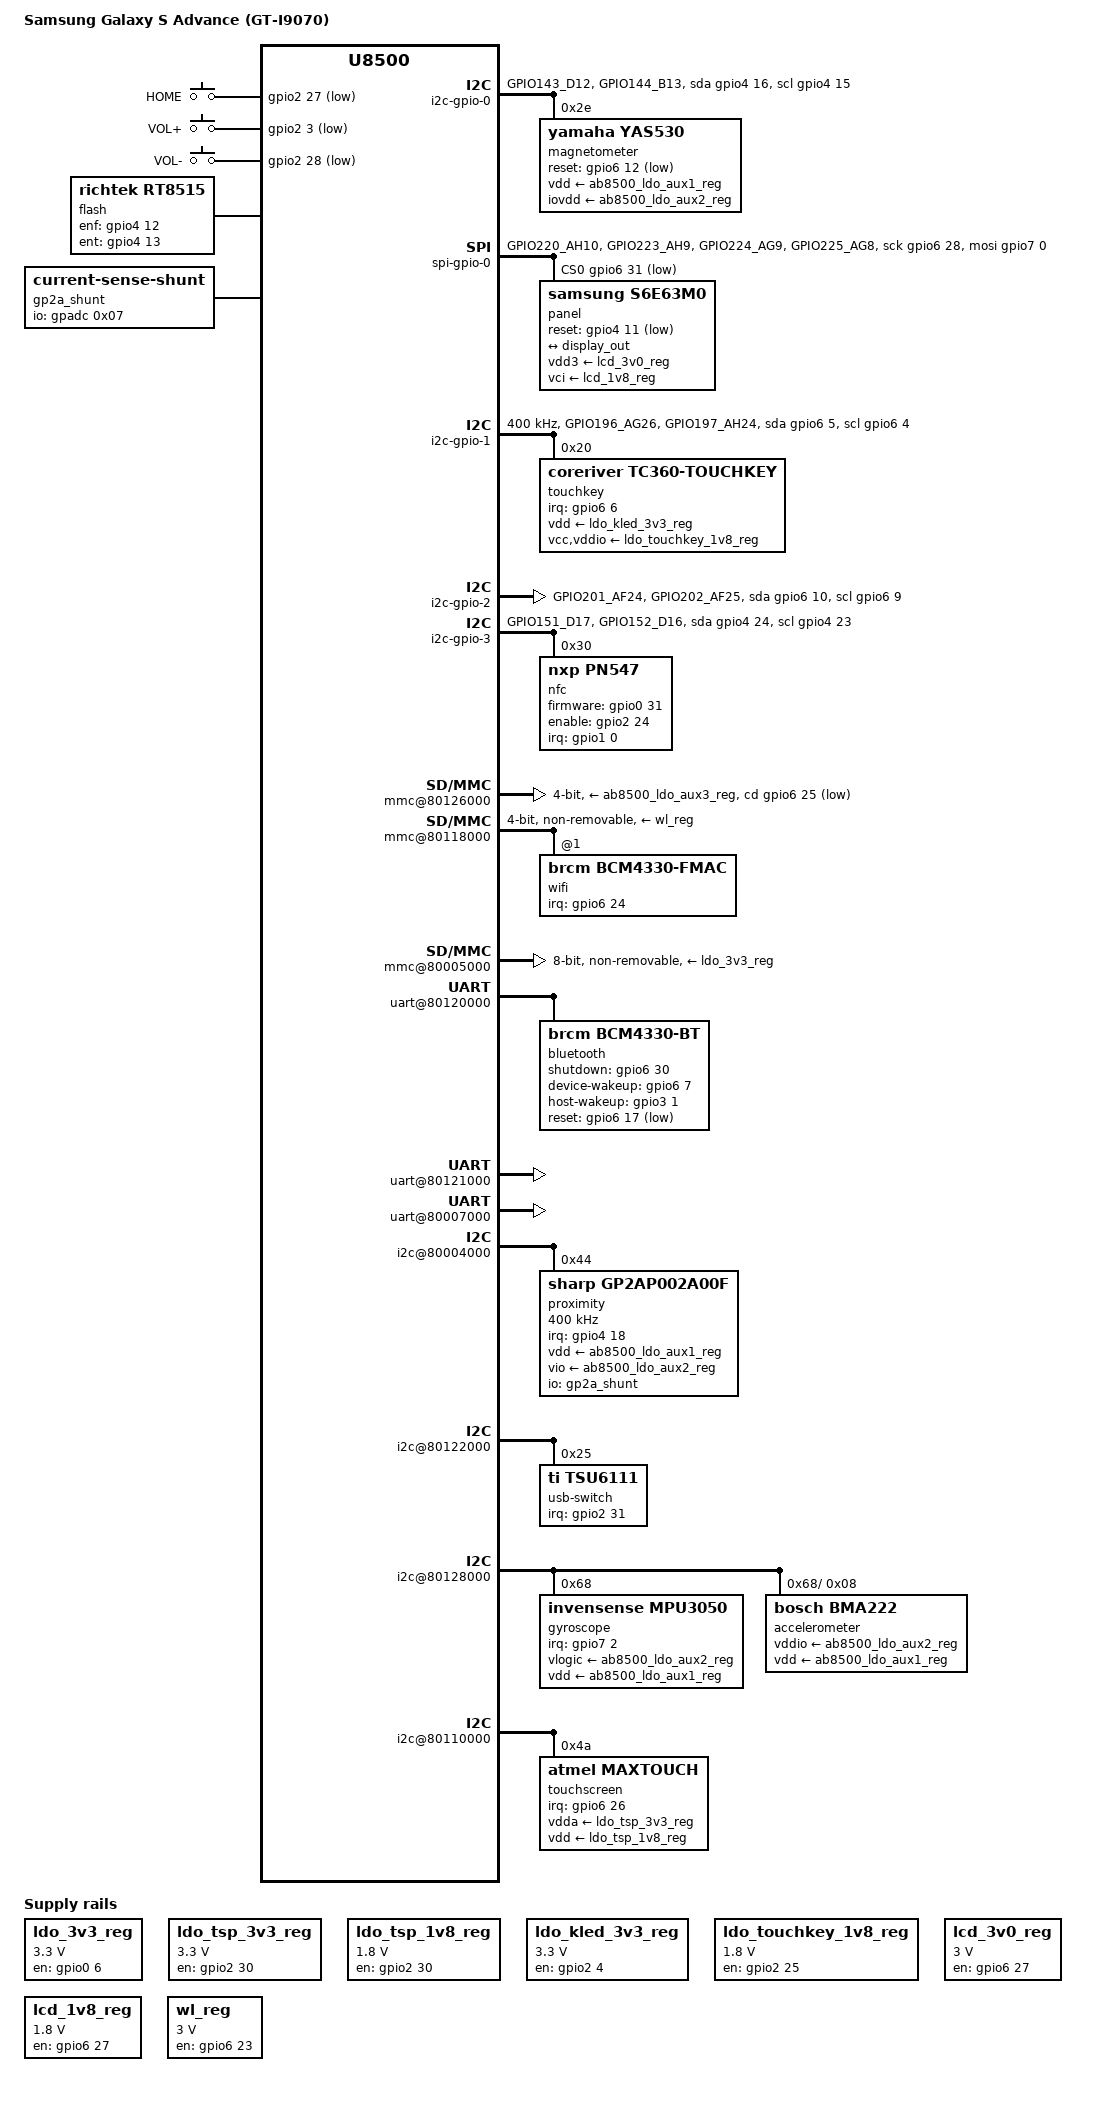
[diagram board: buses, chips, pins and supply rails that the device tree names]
// SPDX-License-Identifier: GPL-2.0-only
/*
 * Devicetree for the Samsung Galaxy S Advance GT-I9070 also known as Janice.
 */

/dts-v1/;
#include "ste-db8500.dtsi"
#include "ste-ab8500.dtsi"
#include "ste-dbx5x0-pinctrl.dtsi"
#include <dt-bindings/gpio/gpio.h>
#include <dt-bindings/leds/common.h>
#include <dt-bindings/input/input.h>
#include <dt-bindings/interrupt-controller/irq.h>

/ {
	model = "Samsung Galaxy S Advance (GT-I9070)";
	compatible = "samsung,janice", "st-ericsson,u8500";

	chosen {
		stdout-path = &serial2;
	};

	/* External LDO for eMMC LDO VMEM_3V3 controlled by GPIO6 */
	ldo_3v3_reg: regulator-gpio-ldo-3v3 {
		compatible = "regulator-fixed";
		/* Supplied in turn by VBAT */
		regulator-name = "VMEM_3V3";
		regulator-min-microvolt = <3300000>;
		regulator-max-microvolt = <3300000>;
		gpio = <&gpio0 6 GPIO_ACTIVE_HIGH>;
		startup-delay-us = <5000>; // FIXME
		enable-active-high;
		pinctrl-names = "default";
		pinctrl-0 = <&emmc_ldo_en_default_mode>;
	};

	/*
	 * External Ricoh "TSP" regulator for the touchscreen.
	 * One GPIO line controls two voltages of 3.3V and 1.8V
	 * this line is known as "TSP_LDO_ON1" in the schematics.
	 */
	ldo_tsp_3v3_reg: regulator-gpio-tsp-ldo-3v3 {
		compatible = "regulator-fixed";
		/* Supplied in turn by VBAT */
		regulator-name = "LDO_TSP_A3V3";
		regulator-min-microvolt = <3300000>;
		regulator-max-microvolt = <3300000>;
		/* GPIO94 controls this regulator */
		gpio = <&gpio2 30 GPIO_ACTIVE_HIGH>;
		/* 70 ms power-on delay */
		startup-delay-us = <70000>;
		enable-active-high;
		pinctrl-names = "default";
		pinctrl-0 = <&tsp_ldo_en_default_mode>;
	};
	ldo_tsp_1v8_reg: regulator-gpio-tsp-ldo-1v8 {
		compatible = "regulator-fixed";
		/* Supplied in turn by VBAT */
		regulator-name = "VREG_TSP_1V8";
		regulator-min-microvolt = <1800000>;
		regulator-max-microvolt = <1800000>;
		/* GPIO94 controls this regulator */
		gpio = <&gpio2 30 GPIO_ACTIVE_HIGH>;
		/* 70 ms power-on delay */
		startup-delay-us = <70000>;
		enable-active-high;
		pinctrl-names = "default";
		pinctrl-0 = <&tsp_ldo_en_default_mode>;
	};

	/*
	 * External Ricoh "TSP" regulator for the touchkeys.
	 * Two GPIO lines controls two voltages of 3.3V and 1.8V
	 * TSP_LDO_ON2 controls VREG_TOUCHKEY_1V8
	 * EN_LED_LDO controls VREG_KLED_3V3 (key LED)
	 */
	ldo_kled_3v3_reg: regulator-gpio-vreg-kled-3v3 {
		compatible = "regulator-fixed";
		/* Supplied in turn by VBAT */
		regulator-name = "VREG_KLED_3V3";
		regulator-min-microvolt = <3300000>;
		regulator-max-microvolt = <3300000>;
		/* GPIO68 controls this regulator */
		gpio = <&gpio2 4 GPIO_ACTIVE_HIGH>;
		/* 70 ms power-on delay */
		startup-delay-us = <70000>;
		enable-active-high;
		pinctrl-names = "default";
		pinctrl-0 = <&en_led_ldo_default_mode>;
	};
	ldo_touchkey_1v8_reg: regulator-gpio-vreg-touchkey-1v8 {
		compatible = "regulator-fixed";
		/* Supplied in turn by VBAT */
		regulator-name = "VREG_TOUCHKEY_1V8";
		regulator-min-microvolt = <1800000>;
		regulator-max-microvolt = <1800000>;
		/* GPIO89 controls this regulator */
		gpio = <&gpio2 25 GPIO_ACTIVE_HIGH>;
		/* 70 ms power-on delay */
		startup-delay-us = <70000>;
		enable-active-high;
		pinctrl-names = "default";
		pinctrl-0 = <&tsp_ldo_on2_default_mode>;
	};


	/*
	 * External Ricoh RP152L010B-TR LCD LDO regulator for the display.
	 * LCD_PWR_EN controls a 3.0V and 1.8V output.
	 */
	lcd_3v0_reg: regulator-gpio-lcd-3v0 {
		compatible = "regulator-fixed";
		/* Supplied in turn by VBAT */
		regulator-name = "VREG_LCD_3V0";
		regulator-min-microvolt = <3000000>;
		regulator-max-microvolt = <3000000>;
		/* GPIO219 controls this regulator */
		gpio = <&gpio6 27 GPIO_ACTIVE_HIGH>;
		enable-active-high;
		pinctrl-names = "default";
		pinctrl-0 = <&lcd_pwr_en_default_mode>;
	};
	lcd_1v8_reg: regulator-gpio-lcd-1v8 {
		compatible = "regulator-fixed";
		/* Supplied in turn by VBAT */
		regulator-name = "VREG_LCD_1V8";
		regulator-min-microvolt = <1800000>;
		regulator-max-microvolt = <1800000>;
		/* GPIO219 controls this regulator */
		gpio = <&gpio6 27 GPIO_ACTIVE_HIGH>;
		enable-active-high;
		pinctrl-names = "default";
		pinctrl-0 = <&lcd_pwr_en_default_mode>;
	};

	/*
	 * This regulator is a GPIO line that drives the Broadcom WLAN
	 * line WL_REG_ON high and enables the internal regulators
	 * inside the chip. Unfortunatley it is erroneously named
	 * WLAN_RST_N on the schematic but it is not a reset line.
	 *
	 * The voltage specified here is only used to determine the OCR mask,
	 * the for the SDIO connector, the chip is actually connected
	 * directly to VBAT.
	 */
	wl_reg: regulator-gpio-wlan {
		compatible = "regulator-fixed";
		regulator-name = "WL_REG_ON";
		regulator-min-microvolt = <3000000>;
		regulator-max-microvolt = <3000000>;
		startup-delay-us = <100000>;
		/* GPIO215 (WLAN_RST_N to WL_REG_ON) */
		gpio = <&gpio6 23 GPIO_ACTIVE_HIGH>;
		enable-active-high;
		pinctrl-names = "default";
		pinctrl-0 = <&wlan_ldo_en_default>;
	};


	gpio-keys {
		compatible = "gpio-keys";
		pinctrl-names = "default";
		pinctrl-0 = <&gpio_keys_default_mode>;

		button-home {
			linux,code = <KEY_HOME>;
			label = "HOME";
			/* GPIO91 */
			gpios = <&gpio2 27 GPIO_ACTIVE_LOW>;
		};
		button-volup {
			linux,code = <KEY_VOLUMEUP>;
			label = "VOL+";
			/* GPIO67 */
			gpios = <&gpio2 3 GPIO_ACTIVE_LOW>;
		};
		button-voldown {
			linux,code = <KEY_VOLUMEDOWN>;
			label = "VOL-";
			/* GPIO92 */
			gpios = <&gpio2 28 GPIO_ACTIVE_LOW>;
		};
	};

	/* Richtek RT8515GQW Flash LED Driver IC */
	flash {
		compatible = "richtek,rt8515";
		/* GPIO 140 */
		enf-gpios = <&gpio4 12 GPIO_ACTIVE_HIGH>;
		/* GPIO 141 */
		ent-gpios = <&gpio4 13 GPIO_ACTIVE_HIGH>;
		/*
		 * RFS is 16 kOhm and RTS is 100 kOhm giving
		 * the flash max current 343mA and torch max
		 * current 55 mA.
		 */
		richtek,rfs-ohms = <16000>;
		richtek,rts-ohms = <100000>;
		pinctrl-names = "default";
		pinctrl-0 = <&gpio_flash_default_mode>;

		led {
			function = LED_FUNCTION_FLASH;
			color = <LED_COLOR_ID_WHITE>;
			flash-max-timeout-us = <250000>;
			flash-max-microamp = <343750>;
			led-max-microamp = <55000>;
		};
	};

	/* Bit-banged I2C on GPIO143 and GPIO144 also called "SUBPMU I2C" */
	i2c-gpio-0 {
		compatible = "i2c-gpio";
		sda-gpios = <&gpio4 16 (GPIO_ACTIVE_HIGH|GPIO_OPEN_DRAIN)>;
		scl-gpios = <&gpio4 15 (GPIO_ACTIVE_HIGH|GPIO_OPEN_DRAIN)>;
		pinctrl-names = "default";
		pinctrl-0 = <&i2c_gpio_0_default>;
		#address-cells = <1>;
		#size-cells = <0>;

		/* Yamaha YAS530 magnetometer */
		magnetometer@2e {
			compatible = "yamaha,yas530";
			reg = <0x2e>;
			/* VDD 3V */
			vdd-supply = <&ab8500_ldo_aux1_reg>;
			/* IOVDD 1.8V */
			iovdd-supply = <&ab8500_ldo_aux2_reg>;
			/* GPIO204 COMPASS_RST_N */
			reset-gpios = <&gpio6 12 GPIO_ACTIVE_LOW>;
			pinctrl-names = "default";
			pinctrl-0 = <&yas529_default>;
		};
		/* TODO: this should also be used by the NCP6914 Camera power management unit */
	};

	/*
	 * These pins do have an spi controller, however the controller on
	 * these pins is not the fully featured PL022 SSP/SPI block but the
	 * ST Micro diet "PL023" version. One of the lacking features in
	 * this derivative is 3wire support, so it cannot be used to drive
	 * this panel interface. We have to use GPIO bit-banging instead.
	 */
	spi-gpio-0 {
		compatible = "spi-gpio";
		/* Clock on GPIO220 */
		sck-gpios = <&gpio6 28 GPIO_ACTIVE_HIGH>;
		/* MISO/MOSI on GPIO224 (no separate MISO pin) */
		mosi-gpios = <&gpio7 0 GPIO_ACTIVE_HIGH>;
		/* Chip select on GPIO223 */
		cs-gpios = <&gpio6 31 GPIO_ACTIVE_LOW>;
		num-chipselects = <1>;

		pinctrl-names = "default";
		pinctrl-0 = <&spi_gpio_0_default>;
		#address-cells = <1>;
		#size-cells = <0>;

		panel@0 {
			compatible = "samsung,s6e63m0";
			reg = <0>;
			vdd3-supply = <&lcd_3v0_reg>;
			vci-supply = <&lcd_1v8_reg>;
			/* Reset on GPIO139 */
			reset-gpios = <&gpio4 11 GPIO_ACTIVE_LOW>;
			pinctrl-names = "default";
			pinctrl-0 = <&panel_default_mode>;
			spi-3wire;
			/* TYPE 3: inverse clock polarity and phase */
			spi-cpha;
			spi-cpol;

			port {
				panel_in: endpoint {
					remote-endpoint = <&display_out>;
				};
			};
		};
	};

	/*
	 * Current sense amplifier on the light sensor to convert current to
	 * voltage. We do not know if this is the actual configuration. The
	 * sense resistor value was found by calibrating in a room ambient
	 * light with a second mobile phone light sensor as reference. If you
	 * pry a Janice phone apart and inspect it you may figure this out.
	 */
	gp2a_shunt: current-sense-shunt {
		compatible = "current-sense-shunt";
		io-channels = <&gpadc 0x07>;
		shunt-resistor-micro-ohms = <15000000>; /* 15 ohms c:a */
		#io-channel-cells = <0>;
		io-channel-ranges;
	};

	/* Bit-banged I2C on GPIO196 and GPIO197 also called "TOUCHKEY_I2C" */
	i2c-gpio-1 {
		compatible = "i2c-gpio";
		sda-gpios = <&gpio6 5 (GPIO_ACTIVE_HIGH|GPIO_OPEN_DRAIN)>;
		scl-gpios = <&gpio6 4 (GPIO_ACTIVE_HIGH|GPIO_OPEN_DRAIN)>;
		clock-frequency = <400000>;
		pinctrl-names = "default";
		pinctrl-0 = <&i2c_gpio_1_default>;
		#address-cells = <1>;
		#size-cells = <0>;

		touchkey@20 {
			compatible = "coreriver,tc360-touchkey";
			reg = <0x20>;
			vdd-supply = <&ldo_kled_3v3_reg>;
			vcc-supply = <&ldo_touchkey_1v8_reg>;
			vddio-supply = <&ldo_touchkey_1v8_reg>;

			/* Interrupt on GPIO 198 */
			interrupt-parent = <&gpio6>;
			interrupts = <6 IRQ_TYPE_EDGE_RISING>;

			pinctrl-names = "default";
			pinctrl-0 = <&touchkey_default_mode>;
			linux,keycodes = <KEY_MENU KEY_BACK>;
		};
	};

	/* Bit-banged I2C on GPIO201 and GPIO202 also called "MOT_I2C" */
	i2c-gpio-2 {
		compatible = "i2c-gpio";
		sda-gpios = <&gpio6 10 (GPIO_ACTIVE_HIGH|GPIO_OPEN_DRAIN)>;
		scl-gpios = <&gpio6 9 (GPIO_ACTIVE_HIGH|GPIO_OPEN_DRAIN)>;
		pinctrl-names = "default";
		pinctrl-0 = <&i2c_gpio_2_default>;
		#address-cells = <1>;
		#size-cells = <0>;
		/* TODO: add the Immersion ISA1200 I2C device here */
	};

	/* Bit-banged I2C on GPIO151 and GPIO152 also called "NFC_I2C" */
	i2c-gpio-3 {
		compatible = "i2c-gpio";
		sda-gpios = <&gpio4 24 (GPIO_ACTIVE_HIGH|GPIO_OPEN_DRAIN)>;
		scl-gpios = <&gpio4 23 (GPIO_ACTIVE_HIGH|GPIO_OPEN_DRAIN)>;
		pinctrl-names = "default";
		pinctrl-0 = <&i2c_gpio_3_default>;
		#address-cells = <1>;
		#size-cells = <0>;

		nfc@30 {
			compatible = "nxp,pn547", "nxp,nxp-nci-i2c";
			reg = <0x30>;
			/* NFC IRQ on GPIO32 */
			interrupt-parent = <&gpio1>;
			interrupts = <0 IRQ_TYPE_EDGE_FALLING>;
			/* GPIO 31 */
			firmware-gpios = <&gpio0 31 GPIO_ACTIVE_HIGH>;
			/* GPIO88 */
			enable-gpios = <&gpio2 24 GPIO_ACTIVE_HIGH>;
			pinctrl-names = "default";
			pinctrl-0 = <&pn547_janice_default>;
		};
	};

	soc {
		/* External Micro SD slot */
		mmc@80126000 {
			arm,primecell-periphid = <0x10480180>;
			max-frequency = <50000000>;
			bus-width = <4>;
			cap-sd-highspeed;
			cap-mmc-highspeed;
			st,sig-dir-cmd;
			st,sig-dir-dat0;
			st,sig-dir-dat2;
			st,sig-pin-fbclk;
			full-pwr-cycle;
			/* MMC is powered by AUX3 1.2V .. 2.91V */
			vmmc-supply = <&ab8500_ldo_aux3_reg>;
			/* 2.9 V level translator is using AUX3 at 2.9 V as well */
			vqmmc-supply = <&ab8500_ldo_aux3_reg>;
			pinctrl-names = "default", "sleep";
			pinctrl-0 = <&mc0_a_2_default>;
			pinctrl-1 = <&mc0_a_2_sleep>;
			cd-gpios  = <&gpio6 25 GPIO_ACTIVE_LOW>; // GPIO217
			status = "okay";
		};

		/* WLAN SDIO channel */
		mmc@80118000 {
			arm,primecell-periphid = <0x10480180>;
			max-frequency = <50000000>;
			bus-width = <4>;
			non-removable;
			cap-sd-highspeed;
			pinctrl-names = "default", "sleep";
			pinctrl-0 = <&mc1_a_2_default>;
			pinctrl-1 = <&mc1_a_2_sleep>;
			/*
			 * GPIO-controlled voltage enablement: this drives
			 * the WL_REG_ON line high when we use this device.
			 * Represented as regulator to fill OCR mask.
			 */
			vmmc-supply = <&wl_reg>;

			#address-cells = <1>;
			#size-cells = <0>;
			status = "okay";

			wifi@1 {
				compatible = "brcm,bcm4330-fmac", "brcm,bcm4329-fmac";
				reg = <1>;
				/* GPIO216 WL_HOST_WAKE */
				interrupt-parent = <&gpio6>;
				interrupts = <24 IRQ_TYPE_EDGE_FALLING>;
				interrupt-names = "host-wake";
				pinctrl-names = "default";
				pinctrl-0 = <&wlan_default_mode>;
			};
		};

		/* eMMC */
		mmc@80005000 {
			arm,primecell-periphid = <0x10480180>;
		        max-frequency = <50000000>;
			bus-width = <8>;
			non-removable;
			cap-mmc-highspeed;
			mmc-ddr-1_8v;
			no-sdio;
			no-sd;
			vmmc-supply = <&ldo_3v3_reg>;
			pinctrl-names = "default", "sleep";
			pinctrl-0 = <&mc2_a_1_default>;
			pinctrl-1 = <&mc2_a_1_sleep>;
			status = "okay";
		};

		/* GBF (Bluetooth) UART */
		uart@80120000 {
			pinctrl-names = "default", "sleep";
			pinctrl-0 = <&u0_a_1_default>;
			pinctrl-1 = <&u0_a_1_sleep>;
			status = "okay";

			bluetooth {
				/* BCM4330B1 actually */
				compatible = "brcm,bcm4330-bt";
				/* GPIO222 rail BT_VREG_EN to BT_REG_ON */
				shutdown-gpios = <&gpio6 30 GPIO_ACTIVE_HIGH>;
				/* BT_WAKE on GPIO199 */
				device-wakeup-gpios = <&gpio6 7 GPIO_ACTIVE_HIGH>;
				/* BT_HOST_WAKE on GPIO97 */
				/* FIXME: convert to interrupt */
				host-wakeup-gpios = <&gpio3 1 GPIO_ACTIVE_HIGH>;
				/* BT_RST_N on GPIO209 */
				reset-gpios = <&gpio6 17 GPIO_ACTIVE_LOW>;
				pinctrl-names = "default";
				pinctrl-0 = <&bluetooth_default_mode>;
			};
		};

		/* GPS UART */
		uart@80121000 {
			status = "okay";
			pinctrl-names = "default", "sleep";
			/* CTS/RTS is not used, CTS is repurposed as GPIO */
			pinctrl-0 = <&u1rxtx_a_1_default>;
			pinctrl-1 = <&u1rxtx_a_1_sleep>;
			/* FIXME: add a device for the GPS here */
		};

		/* Debugging console UART connected to TSU6111RSVR (FSA880) */
		uart@80007000 {
			status = "okay";
			pinctrl-names = "default", "sleep";
			pinctrl-0 = <&u2rxtx_c_1_default>;
			pinctrl-1 = <&u2rxtx_c_1_sleep>;
		};

		prcmu@80157000 {
			ab8500 {
				ab8500_usb {
					pinctrl-names = "default", "sleep";
					pinctrl-0 = <&usb_a_1_default>;
					pinctrl-1 = <&usb_a_1_sleep>;
				};

				ab8500-regulators {
					ab8500_ldo_aux1 {
						/* Used for VDD for sensors */
						regulator-name = "V-SENSORS-VDD";
						regulator-min-microvolt = <3000000>;
						regulator-max-microvolt = <3000000>;
					};

					ab8500_ldo_aux2 {
						/* Used for VIO for sensors */
						regulator-name = "V-SENSORS-VIO";
						regulator-min-microvolt = <1800000>;
						regulator-max-microvolt = <1800000>;
					};

					ab8500_ldo_aux3 {
						/* Used for voltage for external MMC/SD card */
						regulator-name = "V-MMC-SD";
						regulator-min-microvolt = <1200000>;
						regulator-max-microvolt = <2910000>;
					};
				};
			};
		};

		/* I2C0 */
		i2c@80004000 {
			status = "okay";
			pinctrl-names = "default", "sleep";
			pinctrl-0 = <&i2c0_a_1_default>;
			pinctrl-1 = <&i2c0_a_1_sleep>;

			proximity@44 {
				/* Janice has the GP2AP002A00F with light sensor */
				compatible = "sharp,gp2ap002a00f";
				clock-frequency = <400000>;
				reg = <0x44>;

				interrupt-parent = <&gpio4>;
				interrupts = <18 IRQ_TYPE_EDGE_FALLING>;
				vdd-supply = <&ab8500_ldo_aux1_reg>;
				vio-supply = <&ab8500_ldo_aux2_reg>;
				/* ADC channel AUX2 to read ALSOUT ambient light sensor out */
				io-channels = <&gp2a_shunt>;
				io-channel-names = "alsout";
				pinctrl-names = "default";
				pinctrl-0 = <&gp2ap002_janice_default>;
				/* B1 mode (arch/arm/mach-ux500/include/mach/gp2a.h) */
				sharp,proximity-far-hysteresis = /bits/ 8 <0x40>;
				sharp,proximity-close-hysteresis = /bits/ 8 <0x0f>;
			};
		};

		/* I2C1 on GPIO16 and GPIO17 also called "MUS I2C" */
		i2c@80122000 {
			status = "okay";
			pinctrl-names = "default","sleep";
			pinctrl-0 = <&i2c1_b_2_default>;
			pinctrl-1 = <&i2c1_b_2_sleep>;

			/* Texas Instruments TSU6111 micro USB switch */
			usb-switch@25 {
				compatible = "ti,tsu6111";
				reg = <0x25>;
				/* Interrupt JACK_INT_N on GPIO95 */
				interrupt-parent = <&gpio2>;
				interrupts = <31 IRQ_TYPE_EDGE_FALLING>;
				pinctrl-names = "default";
				pinctrl-0 = <&tsu6111_janice_default>;
			};
		};

		/* I2C2 on GPIO10 and GPIO11 also called "SENSORS I2C" */
		i2c@80128000 {
			status = "okay";
			pinctrl-names = "default", "sleep";
			pinctrl-0 = <&i2c2_b_2_default>;
			pinctrl-1 = <&i2c2_b_2_sleep>;

			gyroscope@68 {
				compatible = "invensense,mpu3050";
				reg = <0x68>;
				/* GPIO226 interrupt */
				interrupt-parent = <&gpio7>;
				interrupts = <2 IRQ_TYPE_EDGE_FALLING>;
				/* FIXME: no idea about this */
				mount-matrix = "1", "0", "0",
					       "0", "1", "0",
					       "0", "0", "1";
				vlogic-supply = <&ab8500_ldo_aux2_reg>; // 1.8V
				vdd-supply = <&ab8500_ldo_aux1_reg>; // 3V
				pinctrl-names = "default";
				pinctrl-0 = <&mpu3050_janice_default>;

				/*
				 * The MPU-3050 acts as a hub for the
				 * accelerometer.
				 */
				i2c-gate {
					#address-cells = <1>;
					#size-cells = <0>;

					/* Bosch BMA222 accelerometer */
					accelerometer@8 {
						compatible = "bosch,bma222";
						reg = <0x08>;
						mount-matrix = "0", "1", "0",
							       "-1", "0", "0",
							       "0", "0", "-1";
						vddio-supply = <&ab8500_ldo_aux2_reg>; // 1.8V
						vdd-supply = <&ab8500_ldo_aux1_reg>; // 3V
					};
				};
			};
		};

		/* I2C3 */
		i2c@80110000 {
			status = "okay";

			pinctrl-names = "default", "sleep";
			pinctrl-0 = <&i2c3_c_2_default>;
			pinctrl-1 = <&i2c3_c_2_sleep>;

			/* Atmel mXT224E touchscreen */
			touchscreen@4a {
				compatible = "atmel,maxtouch";
				reg = <0x4a>;
				/* GPIO218 (TSP_INT_1V8) */
				interrupt-parent = <&gpio6>;
				interrupts = <26 IRQ_TYPE_EDGE_FALLING>;
				/* VDDA is "analog supply", 2.57-3.47 V */
				vdda-supply = <&ldo_tsp_3v3_reg>;
				/* VDD is "digital supply" 1.71-3.47V */
				vdd-supply = <&ldo_tsp_1v8_reg>;
				pinctrl-names = "default";
				pinctrl-0 = <&tsp_default>;
			};
		};

		mcde@a0350000 {
			status = "okay";
			pinctrl-names = "default";
			pinctrl-0 = <&dpi_default_mode>;

			port {
				display_out: endpoint {
					remote-endpoint = <&panel_in>;
				};
			};
		};
	};
};

&pinctrl {
	/*
	 * This extends the MC0_A_2 default config to include
	 * the card detect GPIO217 line.
	 */
	sdi0 {
		mc0_a_2_default {
			default_cfg4 {
				pins = "GPIO217_AH12"; /* card detect */
				ste,config = <&gpio_in_pd>;
			};
		};
	};
	mcde {
		dpi_default_mode: dpi_default {
			default_mux1 {
				/* Mux in all the data lines */
				function = "lcd";
				groups =
					/* Data lines D0-D7 GPIO70..GPIO77 */
					"lcd_d0_d7_a_1",
					/* Data lines D8-D11 GPIO78..GPIO81 */
					"lcd_d8_d11_a_1",
					/* Data lines D12-D15 GPIO82..GPIO85 */
					"lcd_d12_d15_a_1",
					/* Data lines D16-D23 GPIO161..GPIO168 */
					"lcd_d16_d23_b_1";
			};
			default_mux2 {
				function = "lcda";
				/* Clock line on GPIO150, DE, VSO, HSO on GPIO169..GPIO171 */
				groups = "lcdaclk_b_1", "lcda_b_1";
			};
			/* Input, no pull-up is the default state for pins used for an alt function */
			default_cfg1 {
				pins = "GPIO150_C14", "GPIO169_D22", "GPIO170_C23", "GPIO171_D23";
				ste,config = <&in_nopull>;
			};
		};
	};
	/* GPIO for panel reset control */
	panel {
		panel_default_mode: panel_default {
			janice_cfg1 {
				/* Reset line */
				pins = "GPIO139_C9";
				ste,config = <&gpio_out_lo>;
			};
		};
	};
	/* GPIO that enables the LDO regulator for the eMMC */
	emmc-ldo {
		emmc_ldo_en_default_mode: emmc_ldo_default {
			/* LDO enable on GPIO6 */
			janice_cfg1 {
				pins = "GPIO6_AF6";
				ste,config = <&gpio_out_hi>;
			};
		};
	};
	/* GPIO that enables the LDO regulator for the touchscreen */
	tsp-ldo {
		tsp_ldo_en_default_mode: tsp_ldo_default {
			/* LDO enable on GPIO94 */
			janice_cfg1 {
				pins = "GPIO94_D7";
				ste,config = <&gpio_out_hi>;
			};
		};
	};
	/* GPIO that enables the LDO regulator for the key LED */
	key-led {
		en_led_ldo_default_mode: en_led_ldo_default {
			/* EN_LED_LDO on GPIO68 */
			janice_cfg1 {
				pins = "GPIO68_E1";
				ste,config = <&gpio_out_hi>;
			};
		};
	};
	/* GPIO that enables the LDO regulator for the touchkeys */
	touchkey-ldo {
		tsp_ldo_on2_default_mode: tsp_ldo_on2_default {
			/* TSP_LDO_ON2 on GPIO89 */
			janice_cfg1 {
				pins = "GPIO89_E6";
				ste,config = <&gpio_out_lo>;
			};
		};
	};
	touchkey {
		touchkey_default_mode: touchkey_default {
			janice_cfg1 {
				/* Interrupt */
				pins = "GPIO198_AG25";
				ste,config = <&gpio_in_nopull>;
			};
			janice_cfg2 {
				/* Reset, actually completely unused (not routed) */
				pins = "GPIO205_AG23";
				ste,config = <&gpio_in_pd>;
			};
		};
	};
	/* GPIO that enabled the LDO regulator for the LCD display */
	lcd-ldo {
		lcd_pwr_en_default_mode: lcd_pwr_en_default {
			/* LCD_PWR_EN on GPIO219 */
			janice_cfg1 {
				pins = "GPIO219_AG10";
				ste,config = <&gpio_out_hi>;
			};
		};
	};
	/* GPIO that enables the WLAN internal LDO regulators */
	wlan-ldo {
		wlan_ldo_en_default: wlan_ldo_default {
			/* GPIO215 named WLAN_RST_N */
			janice_cfg1 {
				pins = "GPIO215_AH13";
				ste,config = <&gpio_out_lo>;
			};
		};
	};
	/* Flash and torch */
	flash {
		gpio_flash_default_mode: flash_default {
			janice_cfg1 {
				pins = "GPIO140_B11", "GPIO141_C12";
				ste,config = <&gpio_out_lo>;
			};
		};
	};
	/* GPIO keys */
	gpio-keys {
		gpio_keys_default_mode: gpio_keys_default {
			skomer_cfg1 {
				pins = "GPIO67_G2", /* VOL UP */
				       "GPIO91_B6", /* HOME */
				       "GPIO92_D6"; /* VOL DOWN */
				ste,config = <&gpio_in_pu>;
			};
		};
	};
	/* Interrupt line for the Atmel MXT228 touchscreen */
	tsp {
		tsp_default: tsp_default {
			janice_cfg1 {
				pins = "GPIO218_AH11";	/* TSP_INT_1V8 */
				ste,config = <&gpio_in_nopull>;
			};
		};
	};
	/* Reset line for the Yamaha YAS529 magnetometer */
	yas529 {
		yas529_default: yas529_janice {
			janice_cfg1 {
				pins = "GPIO204_AF23";
				ste,config = <&gpio_out_hi>;
			};
		};
	};
	/* Interrupt line for light/proximity sensor GP2AP002 */
	gp2ap002 {
		gp2ap002_janice_default: gp2ap002_janice {
			janice_cfg1 {
				pins = "GPIO146_D13";
				ste,config = <&gpio_in_nopull>;
			};
		};
	};
	/* Interrupt line for Invensense MPU3050 gyroscope */
	mpu3050 {
		mpu3050_janice_default: mpu3050_janice {
			janice_cfg1 {
				/* GPIO226 used for IRQ */
				pins = "GPIO226_AF8";
				ste,config = <&gpio_in_nopull>;
			};
		};
	};
	/* GPIO-based I2C bus for magnetometer and NCP6914 */
	i2c-gpio-0 {
		i2c_gpio_0_default: i2c_gpio_0 {
			janice_cfg1 {
				pins = "GPIO143_D12", "GPIO144_B13";
				ste,config = <&gpio_in_nopull>;
			};
		};
	};
	/* GPIO-based I2C bus for the Cypress touchkeys */
	i2c-gpio-1 {
		i2c_gpio_1_default: i2c_gpio_1 {
			janice_cfg1 {
				pins = "GPIO196_AG26", "GPIO197_AH24";
				ste,config = <&gpio_in_nopull>;
			};
		};
	};
	/* GPIO-based I2C bus for the Immersion ISA1200 */
	i2c-gpio-2 {
		i2c_gpio_2_default: i2c_gpio_2 {
			janice_cfg1 {
				pins = "GPIO201_AF24", "GPIO202_AF25";
				ste,config = <&gpio_in_nopull>;
			};
		};
	};
	/* GPIO-based I2C bus for the NFC */
	i2c-gpio-3 {
		i2c_gpio_3_default: i2c_gpio_3 {
			janice_cfg1 {
				pins = "GPIO151_D17", "GPIO152_D16";
				ste,config = <&gpio_in_nopull>;
			};
		};
	};
	/* GPIO-based SPI bus for the display */
	spi-gpio-0 {
		spi_gpio_0_default: spi_gpio_0 {
			janice_cfg1 {
				pins = "GPIO220_AH10", "GPIO223_AH9", "GPIO224_AG9";
				ste,config = <&gpio_out_hi>;
			};
			/* This pin is unused but belongs with this SPI block */
			janice_cfg2 {
				pins = "GPIO225_AG8";
				ste,config = <&in_pd>;
			};
		};
	};
	wlan {
		wlan_default_mode: wlan_default {
			/* GPIO216 for WL_HOST_WAKE */
			janice_cfg2 {
				pins = "GPIO216_AG12";
				ste,config = <&gpio_in_pd>;
			};
		};
	};
	bluetooth {
		bluetooth_default_mode: bluetooth_default {
			/* GPIO199 BT_WAKE and GPIO222 BT_VREG_ON */
			janice_cfg1 {
				pins = "GPIO199_AH23", "GPIO222_AJ9";
				ste,config = <&gpio_out_lo>;
			};
			/* GPIO97 BT_HOST_WAKE */
			janice_cfg2 {
				pins = "GPIO97_D9";
				ste,config = <&gpio_in_nopull>;
			};
			/* GPIO209 BT_RST_N */
			janice_cfg3 {
				pins = "GPIO209_AG15";
				ste,config = <&gpio_out_hi>;
			};
		};
	};
	/* Interrupt line for TI TSU6111 Micro USB switch */
	tsu6111 {
		tsu6111_janice_default: tsu6111_janice {
			janice_cfg1 {
				/* GPIO95 used for IRQ */
				pins = "GPIO95_E8";
				ste,config = <&gpio_in_nopull>;
			};
		};
	};
	nfc {
		pn547_janice_default: pn547_janice {
			/* Interrupt line */
			janice_cfg1 {
				pins = "GPIO32_V2";
				ste,config = <&gpio_in_nopull>;
			};
			/* Enable and firmware GPIOs */
			janice_cfg2 {
				pins = "GPIO31_V3", "GPIO88_C4";
				ste,config = <&gpio_out_lo>;
			};
		};
	};
};
